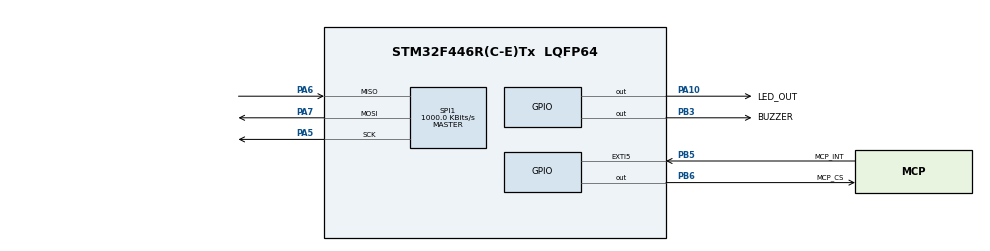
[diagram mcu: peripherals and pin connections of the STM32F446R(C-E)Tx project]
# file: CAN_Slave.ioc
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Mcu.Family=STM32F4
Mcu.Name=STM32F446R(C-E)Tx
Mcu.Package=LQFP64
NVIC.EXTI9_5_IRQn=true\:0\:0\:false\:false\:true\:true\:true\:true
NVIC.PriorityGroup=NVIC_PRIORITYGROUP_4
PA10.GPIO_Label=LED_OUT
PA10.Signal=GPIO_Output
PA5.Mode=Full_Duplex_Master
PA5.Signal=SPI1_SCK
PA6.Mode=Full_Duplex_Master
PA6.Signal=SPI1_MISO
PA7.Mode=Full_Duplex_Master
PA7.Signal=SPI1_MOSI
PB3.GPIO_Label=BUZZER
PB3.Signal=GPIO_Output
PB5.GPIO_Label=MCP_INT
PB5.GPIO_ModeDefaultEXTI=GPIO_MODE_IT_FALLING
PB5.GPIO_PuPd=GPIO_PULLUP
PB5.Signal=GPXTI5
PB6.GPIO_Label=MCP_CS
PB6.GPIO_Speed=GPIO_SPEED_FREQ_HIGH
PB6.PinState=GPIO_PIN_SET
PB6.Signal=GPIO_Output
ProjectManager.HeapSize=0x200
ProjectManager.StackSize=0x400
ProjectManager.TargetToolchain=STM32CubeIDE
RCC.CortexFreq_Value=16000000
RCC.USBFreq_Value=96000000
RCC.VCOOutputFreq_Value=192000000
SPI1.BaudRatePrescaler=SPI_BAUDRATEPRESCALER_16
SPI1.CalculateBaudRate=1000.0 KBits/s
SPI1.Direction=SPI_DIRECTION_2LINES
SPI1.Mode=SPI_MODE_MASTER
SPI1.VirtualType=VM_MASTER
board=custom

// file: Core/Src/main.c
/* USER CODE BEGIN Header */
/**
  ******************************************************************************
  * @file           : main.c
  * @brief          : Main program body
  ******************************************************************************
  * @attention
  *
  * Copyright (c) 2026 STMicroelectronics.
  * All rights reserved.
  *
  * This software is licensed under terms that can be found in the LICENSE file
  * in the root directory of this software component.
  * If no LICENSE file comes with this software, it is provided AS-IS.
  *
  ******************************************************************************
  */
/* USER CODE END Header */
#include "main.h"

/* USER CODE BEGIN Includes */
#include "mcp2515.h"
/* USER CODE END Includes */

SPI_HandleTypeDef hspi1;

/* USER CODE BEGIN PV */
CAN_Frame_t rx_frame;
volatile uint8_t can_irq_flag = 0;
/* USER CODE END PV */

void SystemClock_Config(void);
static void MX_GPIO_Init(void);
static void MX_SPI1_Init(void);

int main(void)
{

  /* MCU Configuration--------------------------------------------------------*/

  /* Reset of all peripherals, Initializes the Flash interface and the Systick. */
  HAL_Init();

  /* Configure the system clock */
  SystemClock_Config();

  /* Initialize all configured peripherals */
  MX_GPIO_Init();
  MX_SPI1_Init();
  /* USER CODE BEGIN 2 */
HAL_Delay(100);

  MCP2515_Init();
/* USER CODE END 2 */

  /* Infinite loop */
  while (1)
  {

    /* USER CODE BEGIN 3 */
if (can_irq_flag)
    {
      can_irq_flag = 0;

      if (MCP2515_CheckReceive())
      {
        MCP2515_ReadFrame(&rx_frame);

        if (rx_frame.id == 0x100 && rx_frame.data[0] == 0xAA)
        {
          for (int i = 0; i < 3; i++)
          {
            HAL_GPIO_WritePin(LED_OUT_GPIO_Port, LED_OUT_Pin, GPIO_PIN_SET);
            HAL_GPIO_WritePin(BUZZER_GPIO_Port, BUZZER_Pin, GPIO_PIN_SET);
            HAL_Delay(150);

            HAL_GPIO_WritePin(LED_OUT_GPIO_Port, LED_OUT_Pin, GPIO_PIN_RESET);
            HAL_GPIO_WritePin(BUZZER_GPIO_Port, BUZZER_Pin, GPIO_PIN_RESET);
            HAL_Delay(150);
          }
        }
      }
    }
/* USER CODE END 3 */
}

}

void SystemClock_Config(void)
{
  RCC_OscInitTypeDef RCC_OscInitStruct = {0};
  RCC_ClkInitTypeDef RCC_ClkInitStruct = {0};

  /** Configure the main internal regulator output voltage
  */
  __HAL_RCC_PWR_CLK_ENABLE();
  __HAL_PWR_VOLTAGESCALING_CONFIG(PWR_REGULATOR_VOLTAGE_SCALE3);

  /** Initializes the RCC Oscillators according to the specified parameters
  * in the RCC_OscInitTypeDef structure.
  */
  RCC_OscInitStruct.OscillatorType = RCC_OSCILLATORTYPE_HSI;
  RCC_OscInitStruct.HSIState = RCC_HSI_ON;
  RCC_OscInitStruct.HSICalibrationValue = RCC_HSICALIBRATION_DEFAULT;
  RCC_OscInitStruct.PLL.PLLState = RCC_PLL_NONE;
  if (HAL_RCC_OscConfig(&RCC_OscInitStruct) != HAL_OK)
  {
    Error_Handler();
  }

  /** Initializes the CPU, AHB and APB buses clocks
  */
  RCC_ClkInitStruct.ClockType = RCC_CLOCKTYPE_HCLK|RCC_CLOCKTYPE_SYSCLK
                              |RCC_CLOCKTYPE_PCLK1|RCC_CLOCKTYPE_PCLK2;
  RCC_ClkInitStruct.SYSCLKSource = RCC_SYSCLKSOURCE_HSI;
  RCC_ClkInitStruct.AHBCLKDivider = RCC_SYSCLK_DIV1;
  RCC_ClkInitStruct.APB1CLKDivider = RCC_HCLK_DIV1;
  RCC_ClkInitStruct.APB2CLKDivider = RCC_HCLK_DIV1;

  if (HAL_RCC_ClockConfig(&RCC_ClkInitStruct, FLASH_LATENCY_0) != HAL_OK)
  {
    Error_Handler();
  }
}

static void MX_SPI1_Init(void)
{

  /* SPI1 parameter configuration*/
  hspi1.Instance = SPI1;
  hspi1.Init.Mode = SPI_MODE_MASTER;
  hspi1.Init.Direction = SPI_DIRECTION_2LINES;
  hspi1.Init.DataSize = SPI_DATASIZE_8BIT;
  hspi1.Init.CLKPolarity = SPI_POLARITY_LOW;
  hspi1.Init.CLKPhase = SPI_PHASE_1EDGE;
  hspi1.Init.NSS = SPI_NSS_SOFT;
  hspi1.Init.BaudRatePrescaler = SPI_BAUDRATEPRESCALER_16;
  hspi1.Init.FirstBit = SPI_FIRSTBIT_MSB;
  hspi1.Init.TIMode = SPI_TIMODE_DISABLE;
  hspi1.Init.CRCCalculation = SPI_CRCCALCULATION_DISABLE;
  hspi1.Init.CRCPolynomial = 10;
  if (HAL_SPI_Init(&hspi1) != HAL_OK)
  {
    Error_Handler();
  }

}

static void MX_GPIO_Init(void)
{
  GPIO_InitTypeDef GPIO_InitStruct = {0};

  /* GPIO Ports Clock Enable */
  __HAL_RCC_GPIOA_CLK_ENABLE();
  __HAL_RCC_GPIOB_CLK_ENABLE();

  /*Configure GPIO pin Output Level */
  HAL_GPIO_WritePin(LED_OUT_GPIO_Port, LED_OUT_Pin, GPIO_PIN_RESET);

  /*Configure GPIO pin Output Level */
  HAL_GPIO_WritePin(BUZZER_GPIO_Port, BUZZER_Pin, GPIO_PIN_RESET);

  /*Configure GPIO pin Output Level */
  HAL_GPIO_WritePin(MCP_CS_GPIO_Port, MCP_CS_Pin, GPIO_PIN_SET);

  /*Configure GPIO pin : LED_OUT_Pin */
  GPIO_InitStruct.Pin = LED_OUT_Pin;
  GPIO_InitStruct.Mode = GPIO_MODE_OUTPUT_PP;
  GPIO_InitStruct.Pull = GPIO_NOPULL;
  GPIO_InitStruct.Speed = GPIO_SPEED_FREQ_LOW;
  HAL_GPIO_Init(LED_OUT_GPIO_Port, &GPIO_InitStruct);

  /*Configure GPIO pin : BUZZER_Pin */
  GPIO_InitStruct.Pin = BUZZER_Pin;
  GPIO_InitStruct.Mode = GPIO_MODE_OUTPUT_PP;
  GPIO_InitStruct.Pull = GPIO_NOPULL;
  GPIO_InitStruct.Speed = GPIO_SPEED_FREQ_LOW;
  HAL_GPIO_Init(BUZZER_GPIO_Port, &GPIO_InitStruct);

  /*Configure GPIO pin : MCP_INT_Pin */
  GPIO_InitStruct.Pin = MCP_INT_Pin;
  GPIO_InitStruct.Mode = GPIO_MODE_IT_FALLING;
  GPIO_InitStruct.Pull = GPIO_PULLUP;
  HAL_GPIO_Init(MCP_INT_GPIO_Port, &GPIO_InitStruct);

  /*Configure GPIO pin : MCP_CS_Pin */
  GPIO_InitStruct.Pin = MCP_CS_Pin;
  GPIO_InitStruct.Mode = GPIO_MODE_OUTPUT_PP;
  GPIO_InitStruct.Pull = GPIO_NOPULL;
  GPIO_InitStruct.Speed = GPIO_SPEED_FREQ_HIGH;
  HAL_GPIO_Init(MCP_CS_GPIO_Port, &GPIO_InitStruct);

  /* EXTI interrupt init*/
  HAL_NVIC_SetPriority(EXTI9_5_IRQn, 0, 0);
  HAL_NVIC_EnableIRQ(EXTI9_5_IRQn);

}

/* USER CODE BEGIN 4 */
void HAL_GPIO_EXTI_Callback(uint16_t GPIO_Pin)
{
  if (GPIO_Pin == MCP_INT_Pin)
  {
    can_irq_flag = 1;
  }
}
/* USER CODE END 4 */

void Error_Handler(void)
{
  __disable_irq();
  while (1)
  {
  }
}
